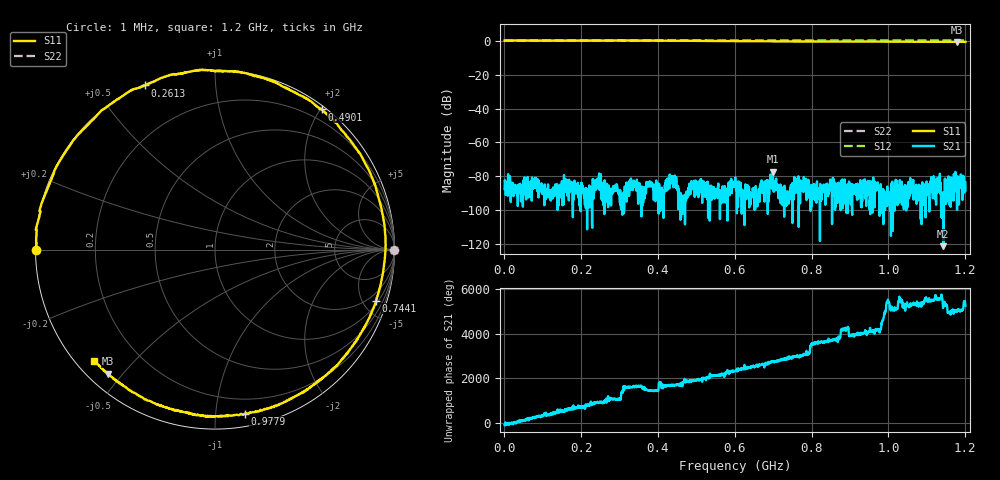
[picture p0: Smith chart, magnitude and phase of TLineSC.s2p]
! Anritsu VNA Master:  Model: MS2025B
! SN:  1642059
! /bd0/PROE/TP1/P2/TLineSC.s2p
! Existing Calibration Information:
! TYPE:  Current Settings,  Active Cal Settings
! TIME:  04/23/2024 09:25:04 AM,  03/12/2018 11:45:53 AM
! INTERNAL TEMP:  43.8 C,  40.8 C
! # POINTS:  1715,  4001
! START FREQ:  1.000 MHz,  1.000 MHz
! STOP FREQ:  1.200 371 500 GHz,  2.800 GHz
! SOURCE POWER:  Default,  Default
! IFBW:  1 kHz,  1 kHz
! AVG FACTOR:  1 ,  1
! REF PLANE 1:  0 mm,  0 mm
! REF PLANE 2:  0 mm,  0 mm
! CAL TYPE:  1P2P S11,S21,  1P2P S11,S21
! CAL METHOD:  SOLT,  SOLT
! CAL LINE TYPE:  Coax,  Coax
! DUT PORT 1:  ,
! DUT PORT 2:  N-Conn(M),  N-Conn(M)
! CAL STATUS:  OK: Accuracy High,  --
# GHZ S MA R 50.0
! FREQ.GHZ  S11M  S11A  S21M  S21A  S12M  S12A  S22M  S22A
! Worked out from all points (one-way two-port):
!   1715 points, 1 MHz to 1.2 GHz, reference 50 ohm
!   highest |S21| = -77.11 dB at 699.4 MHz (marker M1); lowest = -121.0 dB at 1.143 GHz (marker M2)
!   lowest |S11| = -0.8 dB at 1.177 GHz (marker M3), VSWR 21.55, Z = 2.81 - j22.9 ohm
!   |S11| at or under -10 dB: nowhere
!   |S22| runs from 0.0 to 0.0 dB; largest |S21 - S12| = 1
!   S11 on the Smith chart (normalised r, x): 1 MHz: 0.00, -0.00; 261.3 MHz: 0.00, +0.66; 490.1 MHz: 0.05, +2.02; 744.1 MHz: 1.25, -6.23; 977.9 MHz: 0.09, -1.19; 1.2 GHz: 0.05, -0.39
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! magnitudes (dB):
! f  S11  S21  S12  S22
! 1 MHz  0.0  -87.4  0.0  0.0
! 201.1 MHz  0.0  -86.0  0.0  0.0
! 240.3 MHz  0.0  -86.9  0.0  0.0
! 245.9 MHz  0.0  -83.0  0.0  0.0
! 261.3 MHz  0.0  -82.2  0.0  0.0
! 401.3 MHz  0.0  -98.8  0.0  0.0
! 490.1 MHz  -0.2  -85.0  0.0  0.0
! 600.7 MHz  -0.3  -82.0  0.0  0.0
! 686.8 MHz  -0.5  -83.5  0.0  0.0
! 693.1 MHz  -0.5  -78.9  0.0  0.0
! 693.8 MHz  -0.5  -86.4  0.0  0.0
! 699.4 MHz  -0.5  -77.1  0.0  0.0
! 704.9 MHz  -0.5  -85.7  0.0  0.0
! 705.6 MHz  -0.5  -86.5  0.0  0.0
! 744.1 MHz  -0.5  -89.5  0.0  0.0
! 800.8 MHz  -0.6  -93.0  0.0  0.0
! 977.9 MHz  -0.6  -88.7  0.0  0.0
! 1.001 GHz  -0.6  -89.1  0.0  0.0
! 1.143 GHz  -0.8  -121.0  0.0  0.0
! 1.177 GHz  -0.8  -81.2  0.0  0.0
! 1.181 GHz  -0.8  -87.0  0.0  0.0
! 1.2 GHz  -0.8  -83.5  0.0  0.0
